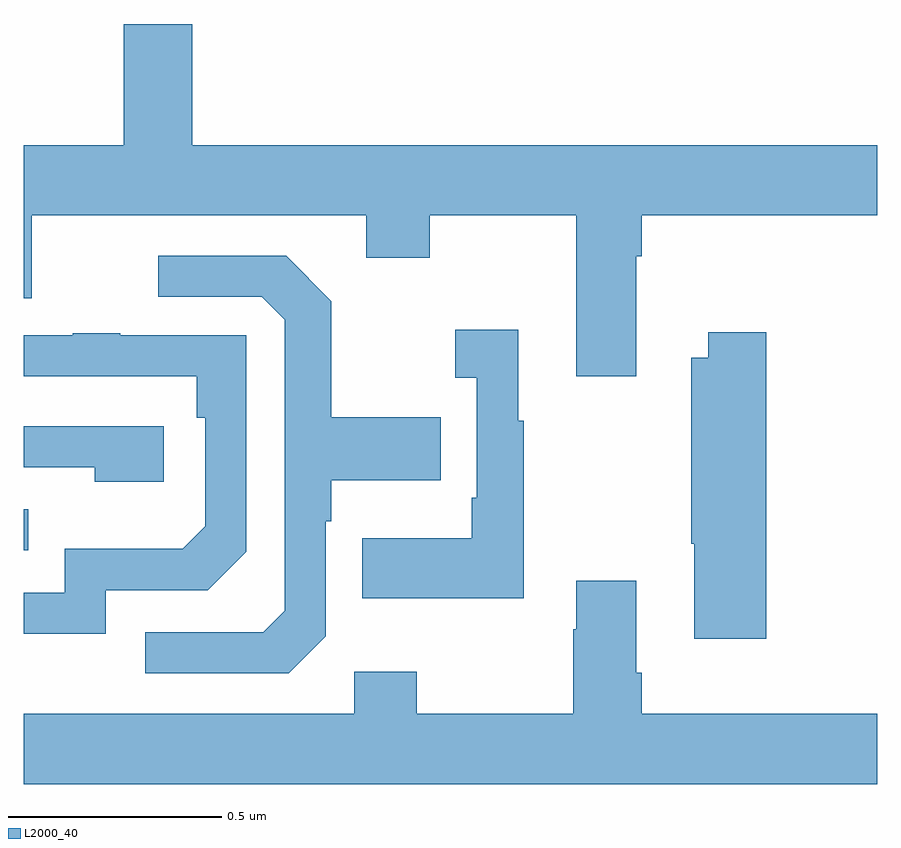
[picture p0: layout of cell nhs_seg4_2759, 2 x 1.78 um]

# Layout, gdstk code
import gdstk
lib = gdstk.Library(unit=1e-6, precision=1e-09)
def R(c, l, rs):  # rectangles x0, y0, x1, y1
    for r in rs: c.add(gdstk.rectangle(r[:2], r[2:], *l))
def P(c, l, *ps):  # polygons
    for p in ps: c.add(gdstk.Polygon(p, *l))
L2000_40 = (2000, 40)

nhs_seg4_2759 = lib.new_cell('nhs_seg4_2759')
R(nhs_seg4_2759, L2000_40, [(144,830.667,144.011,830.763)])
P(nhs_seg4_2759, L2000_40, [(145.435,831.356),(145.448,831.356),(145.448,831.452),(146,831.452),(146,831.616),(144.395,831.616),(144.395,831.9),(144.235,831.9),(144.235,831.616),(144,831.616),(144,831.258),(144.019,831.258),(144.019,831.452),(144.803,831.452),(144.803,831.353),(144.951,831.353),(144.951,831.452),(145.295,831.452),(145.295,831.075),(145.435,831.075)],
  [(144.708,830.466),(144.708,830.735),(144.721,830.735),(144.721,830.831),(144.977,830.831),(144.977,830.979),(144.721,830.979),(144.721,831.251),(144.615,831.357),(144.315,831.357),(144.315,831.261),(144.558,831.261),(144.612,831.207),(144.612,830.526),(144.561,830.475),(144.285,830.475),(144.285,830.379),(144.621,830.379)],
  [(145.171,830.971),(145.159,830.971),(145.159,831.184),(145.011,831.184),(145.011,831.071),(145.062,831.071),(145.062,830.791),(145.05,830.791),(145.05,830.695),(144.793,830.695),(144.793,830.555),(145.171,830.555)],
  [(145.739,831.178),(145.604,831.178),(145.604,831.118),(145.564,831.118),(145.564,830.683),(145.571,830.683),(145.571,830.46),(145.739,830.46)],
  [(144.192,830.574),(144.432,830.574),(144.522,830.664),(144.522,831.171),(144.227,831.171),(144.227,831.176),(144.115,831.176),(144.115,831.171),(144,831.171),(144,831.075),(144.406,831.075),(144.406,830.978),(144.426,830.978),(144.426,830.724),(144.373,830.671),(144.096,830.671),(144.096,830.568),(144,830.568),(144,830.472),(144.192,830.472)],
  [(144.328,830.958),(144,830.958),(144,830.862),(144.167,830.862),(144.167,830.828),(144.328,830.828)],
  [(146,830.284),(145.448,830.284),(145.448,830.38),(145.435,830.38),(145.435,830.596),(145.295,830.596),(145.295,830.483),(145.288,830.483),(145.288,830.284),(144.921,830.284),(144.921,830.383),(144.774,830.383),(144.774,830.284),(144,830.284),(144,830.12),(146,830.12)])

lib.write_gds('nhs_seg4_2759.gds')
